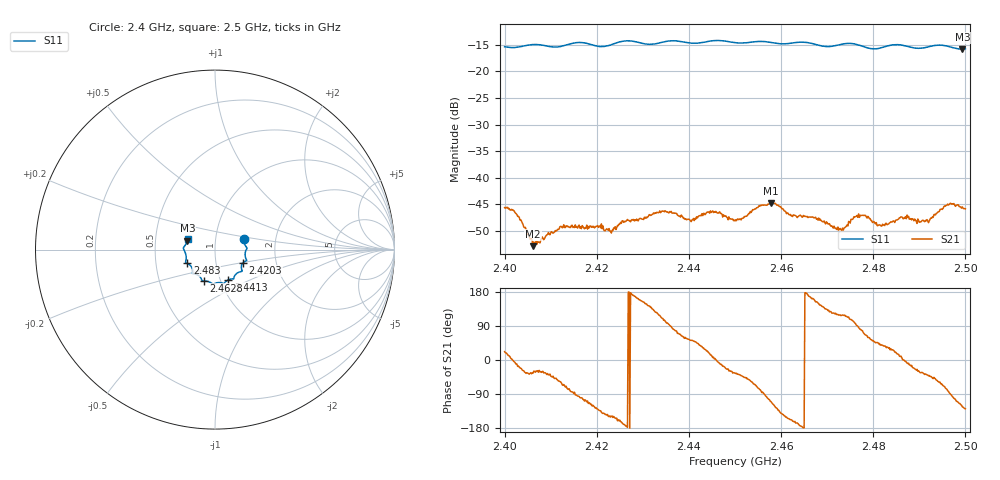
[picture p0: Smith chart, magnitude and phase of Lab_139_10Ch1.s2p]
# Hz S RI R 50
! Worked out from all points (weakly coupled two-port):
!   601 points, 2.4 GHz to 2.5 GHz, reference 50 ohm
!   highest |S21| = -44.76 dB at 2.4578 GHz (marker M1); lowest = -52.9 dB at 2.4062 GHz (marker M2)
!   lowest |S11| = -15.8 dB at 2.4993 GHz (marker M3), VSWR 1.39, Z = 36.5 + j3.71 ohm
!   |S11| at or under -10 dB: start of sweep to end of sweep
!   S12 and S22 are empty: the file has one direction only
!   S11 on the Smith chart (normalised r, x): 2.4 GHz: 1.37, +0.16; 2.4203 GHz: 1.35, -0.21; 2.4413 GHz: 1.09, -0.38; 2.4628 GHz: 0.83, -0.30; 2.483 GHz: 0.72, -0.11; 2.5 GHz: 0.73, +0.09
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2.4e9  0.1606 0.0572  0.00486 0.00197  0 0  0 0
2.4025e9  0.1654 0.0302  0.00452 -0.000879  0 0  0 0
2.406167e9  0.1783 0.0095  0.00187 -0.0013  0 0  0 0
2.412333e9  0.1684 -0.0355  0.0017 -0.00304  0 0  0 0
2.416667e9  0.1762 -0.0614  -0.000553 -0.00328  0 0  0 0
2.420333e9  0.1552 -0.074  -0.00224 -0.00257  0 0  0 0
2.423333e9  0.1472 -0.1022  -0.00271 -0.00171  0 0  0 0
2.433333e9  0.1081 -0.1485  -0.00241 0.00402  0 0  0 0
2.441333e9  0.0744 -0.168  0.00277 0.00309  0 0  0 0
2.445167e9  0.052 -0.1869  0.00485 0.000545  0 0  0 0
2.45e9  0.0292 -0.1839  0.00324 -0.00222  0 0  0 0
2.457833e9  -0.0215 -0.1857  -0.00198 -0.00543  0 0  0 0
2.462833e9  -0.0631 -0.1747  -0.00426 -0.00129  0 0  0 0
2.466667e9  -0.0742 -0.1674  -0.00406 0.00135  0 0  0 0
2.473e9  -0.1181 -0.1345  -0.00148 0.00289  0 0  0 0
2.477333e9  -0.1242 -0.1219  0.000772 0.00435  0 0  0 0
2.483e9  -0.1546 -0.0766  0.003 0.00203  0 0  0 0
2.483333e9  -0.157 -0.0758  0.00314 0.00192  0 0  0 0
2.491667e9  -0.1684 -0.0099  0.00314 -0.00254  0 0  0 0
2.496667e9  -0.1688 0.0207  0.000157 -0.00574  0 0  0 0
2.499333e9  -0.154 0.0496  -0.00295 -0.00443  0 0  0 0
2.5e9  -0.1523 0.0587  -0.00319 -0.00398  0 0  0 0
